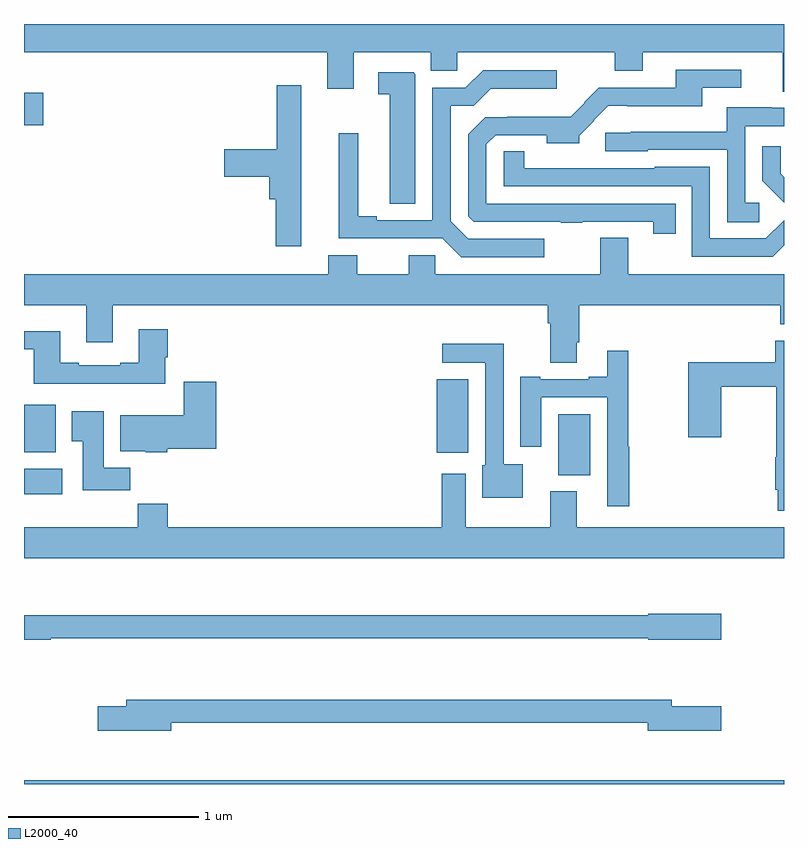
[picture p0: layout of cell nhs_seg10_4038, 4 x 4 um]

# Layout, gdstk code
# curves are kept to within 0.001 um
import gdstk
lib = gdstk.Library(unit=1e-6, precision=1e-09)
def R(c, l, rs):  # rectangles x0, y0, x1, y1
    for r in rs: c.add(gdstk.rectangle(r[:2], r[2:], *l))
def P(c, l, *ps):  # polygons
    for p in ps: c.add(gdstk.Polygon(p, *l))
L2000_40 = (2000, 40)

nhs_seg10_4038 = lib.new_cell('nhs_seg10_4038')
R(nhs_seg10_4038, L2000_40, [(335,1260.5,339,1260.52), (335,1262.024,335.2,1262.158), (337.811,1262.126,337.981,1262.446), (337.172,1262.243,337.339,1262.629), (335,1262.246,335.167,1262.496), (335,1263.968,335.101,1264.138)])
P(nhs_seg10_4038, L2000_40, [(339,1264.5),(335,1264.5),(335,1264.352),(336.596,1264.352),(336.596,1264.158),(336.736,1264.158),(336.736,1264.352),(337.142,1264.352),(337.142,1264.254),(337.281,1264.254),(337.281,1264.352),(338.11,1264.352),(338.11,1264.253),(338.257,1264.253),(338.257,1264.352),(338.993,1264.352),(338.993,1264.144),(339,1264.144)],
  [(338.429,1263.555),(337.434,1263.555),(337.434,1263.867),(337.482,1263.915),(337.751,1263.915),(337.751,1263.872),(337.922,1263.872),(337.922,1263.912),(338.001,1263.99),(337.998,1263.993),(338.075,1264.07),(338.176,1264.07),(338.176,1264.067),(338.569,1264.067),(338.569,1264.164),(338.776,1264.164),(338.776,1264.26),(338.429,1264.26),(338.429,1264.164),(338.025,1264.164),(337.949,1264.087),(337.951,1264.085),(337.877,1264.012),(337.543,1264.012),(337.543,1264.01),(337.427,1264.01),(337.338,1263.921),(337.338,1263.489),(337.368,1263.459),(337.825,1263.459),(337.825,1263.454),(337.937,1263.454),(337.937,1263.459),(338.311,1263.459),(338.311,1263.396),(338.429,1263.396)],
  [(337.738,1263.369),(337.338,1263.369),(337.245,1263.462),(337.245,1264.069),(337.366,1264.069),(337.457,1264.16),(337.804,1264.16),(337.804,1264.257),(337.416,1264.257),(337.323,1264.164),(337.149,1264.164),(337.149,1263.468),(336.856,1263.468),(336.856,1263.488),(336.76,1263.488),(336.76,1263.925),(336.656,1263.925),(336.656,1263.372),(337.202,1263.372),(337.301,1263.273),(337.738,1263.273)],
  [(337.06,1264.235),(337.05,1264.245),(336.864,1264.245),(336.864,1264.129),(336.926,1264.129),(336.926,1263.553),(337.06,1263.553)],
  [(336.46,1264.177),(336.329,1264.177),(336.329,1263.842),(336.054,1263.842),(336.054,1263.695),(336.29,1263.695),(336.29,1263.578),(336.326,1263.578),(336.326,1263.33),(336.46,1263.33)],
  [(338.869,1263.558),(338.796,1263.558),(338.796,1263.963),(339,1263.963),(339,1264.059),(338.935,1264.059),(338.935,1264.063),(338.699,1264.063),(338.699,1263.934),(338.193,1263.934),(338.193,1263.927),(338.058,1263.927),(338.058,1263.831),(338.283,1263.831),(338.283,1263.837),(338.7,1263.837),(338.7,1263.457),(338.869,1263.457)],
  [(339,1263.694),(338.983,1263.711),(338.983,1263.856),(338.886,1263.856),(338.886,1263.674),(339,1263.56)],
  [(339,1263.336),(339,1263.468),(338.904,1263.372),(338.61,1263.372),(338.61,1263.748),(338.319,1263.748),(338.319,1263.741),(337.633,1263.742),(337.633,1263.83),(337.524,1263.83),(337.524,1263.645),(338.514,1263.645),(338.514,1263.276),(338.94,1263.276)],
  [(337.909,1262.824),(337.922,1262.824),(337.922,1263.02),(338.981,1263.02),(338.981,1262.921),(339,1262.921),(339,1263.184),(338.181,1263.184),(338.181,1263.374),(338.033,1263.374),(338.033,1263.184),(337.164,1263.184),(337.164,1263.282),(337.025,1263.282),(337.025,1263.184),(336.754,1263.184),(336.754,1263.283),(336.602,1263.283),(336.602,1263.184),(335,1263.184),(335,1263.02),(335.327,1263.02),(335.327,1262.826),(335.467,1262.826),(335.467,1263.02),(337.757,1263.02),(337.757,1262.924),(337.769,1262.924),(337.769,1262.716),(337.909,1262.716)],
  [(335.743,1262.745),(335.756,1262.745),(335.756,1262.893),(335.603,1262.893),(335.603,1262.716),(335.507,1262.716),(335.507,1262.703),(335.287,1262.703),(335.287,1262.716),(335.191,1262.716),(335.191,1262.884),(335,1262.884),(335,1262.787),(335.051,1262.787),(335.051,1262.606),(335.743,1262.606)],
  [(339,1262.834),(338.954,1262.834),(338.954,1262.719),(338.497,1262.719),(338.497,1262.325),(338.67,1262.325),(338.67,1262.59),(338.959,1262.59),(338.959,1262.22),(338.954,1262.22),(338.954,1262.05),(338.966,1262.05),(338.966,1261.938),(339,1261.938)],
  [(337.624,1262.182),(337.524,1262.182),(337.524,1262.816),(337.2,1262.816),(337.2,1262.718),(337.428,1262.718),(337.428,1262.178),(337.412,1262.178),(337.412,1262.006),(337.624,1262.006)],
  [(338.186,1262.274),(338.179,1262.274),(338.179,1262.779),(338.069,1262.779),(338.069,1262.644),(337.973,1262.644),(337.973,1262.631),(337.717,1262.631),(337.717,1262.644),(337.613,1262.644),(337.613,1262.274),(337.723,1262.274),(337.723,1262.535),(338.07,1262.535),(338.07,1261.962),(338.186,1261.962)],
  [(335.754,1262.264),(336.011,1262.264),(336.011,1262.617),(335.84,1262.617),(335.84,1262.44),(335.507,1262.44),(335.507,1262.252),(335.64,1262.252),(335.64,1262.246),(335.754,1262.246)],
  [(335.558,1262.164),(335.419,1262.164),(335.419,1262.461),(335.252,1262.461),(335.252,1262.305),(335.309,1262.305),(335.309,1262.046),(335.558,1262.046)],
  [(339,1261.852),(337.909,1261.852),(337.909,1262.041),(337.769,1262.041),(337.769,1261.852),(337.324,1261.852),(337.324,1262.134),(337.199,1262.134),(337.199,1261.852),(335.756,1261.852),(335.756,1261.976),(335.599,1261.976),(335.599,1261.852),(335,1261.852),(335,1261.688),(339,1261.688)],
  [(335.142,1261.266),(338.286,1261.266),(338.286,1261.258),(338.671,1261.258),(338.671,1261.395),(338.286,1261.395),(338.286,1261.387),(335,1261.387),(335,1261.258),(335.142,1261.258)],
  [(335.776,1260.822),(338.282,1260.822),(338.282,1260.779),(338.671,1260.779),(338.671,1260.909),(338.41,1260.909),(338.41,1260.943),(335.537,1260.943),(335.537,1260.909),(335.388,1260.909),(335.388,1260.779),(335.776,1260.779)])

lib.write_gds('nhs_seg10_4038.gds')
